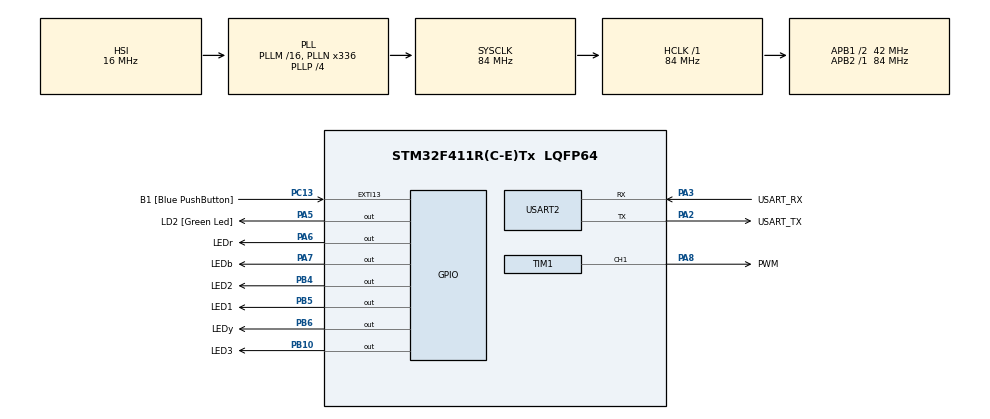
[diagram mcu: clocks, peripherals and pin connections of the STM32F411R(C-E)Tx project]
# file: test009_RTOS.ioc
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FREERTOS.Tasks01=Task01,0,128,StartTask01,Default,NULL,Dynamic,NULL,NULL;Task02,0,128,StartTask02,Default,NULL,Dynamic,NULL,NULL
FREERTOS.configUSE_NEWLIB_REENTRANT=1
Mcu.Family=STM32F4
Mcu.Name=STM32F411R(C-E)Tx
Mcu.Package=LQFP64
NVIC.EXTI15_10_IRQn=true\:5\:0\:false\:false\:true\:true\:true\:true\:true
NVIC.PriorityGroup=NVIC_PRIORITYGROUP_4
NVIC.TIM1_TRG_COM_TIM11_IRQn=true\:15\:0\:false\:false\:true\:false\:false\:true\:true
NVIC.TimeBase=TIM1_TRG_COM_TIM11_IRQn
NVIC.TimeBaseIP=TIM11
PA13.GPIO_Label=TMS
PA13.Mode=Serial_Wire
PA13.Signal=SYS_JTMS-SWDIO
PA14.GPIO_Label=TCK
PA14.Mode=Serial_Wire
PA14.Signal=SYS_JTCK-SWCLK
PA2.GPIO_Label=USART_TX
PA2.Mode=Asynchronous
PA2.Signal=USART2_TX
PA3.GPIO_Label=USART_RX
PA3.Mode=Asynchronous
PA3.Signal=USART2_RX
PA5.GPIO_Label=LD2 [Green Led]
PA5.Signal=GPIO_Output
PA6.GPIO_Label=LEDr
PA6.Signal=GPIO_Output
PA7.GPIO_Label=LEDb
PA7.Signal=GPIO_Output
PA8.GPIO_Label=PWM
PA8.Signal=S_TIM1_CH1
PB10.GPIO_Label=LED3
PB10.Signal=GPIO_Output
PB3.Signal=SYS_JTDO-SWO
PB4.GPIO_Label=LED2
PB4.Signal=GPIO_Output
PB5.GPIO_Label=LED1
PB5.Signal=GPIO_Output
PB6.GPIO_Label=LEDy
PB6.Signal=GPIO_Output
PC13-ANTI_TAMP.GPIO_Label=B1 [Blue PushButton]
PC13-ANTI_TAMP.GPIO_ModeDefaultEXTI=GPIO_MODE_IT_FALLING
PC13-ANTI_TAMP.Signal=GPXTI13
PC14-OSC32_IN.Mode=LSE-External-Oscillator
PC14-OSC32_IN.Signal=RCC_OSC32_IN
PC15-OSC32_OUT.Mode=LSE-External-Oscillator
PC15-OSC32_OUT.Signal=RCC_OSC32_OUT
PH0\ -\ OSC_IN.Mode=HSE-External-Clock-Source
PH0\ -\ OSC_IN.Signal=RCC_OSC_IN
PH1\ -\ OSC_OUT.Mode=HSE-External-Clock-Source
PH1\ -\ OSC_OUT.Signal=RCC_OSC_OUT
ProjectManager.HeapSize=0x200
ProjectManager.StackSize=0x400
ProjectManager.TargetToolchain=STM32CubeIDE
RCC.48MHZClocksFreq_Value=84000000
RCC.AHBFreq_Value=84000000
RCC.APB1CLKDivider=RCC_HCLK_DIV2
RCC.APB1Freq_Value=42000000
RCC.APB1TimFreq_Value=84000000
RCC.APB2Freq_Value=84000000
RCC.APB2TimFreq_Value=84000000
RCC.CortexFreq_Value=84000000
RCC.FLatency-AdvancedSettings=FLASH_LATENCY_2
RCC.HCLKFreq_Value=84000000
RCC.HSE_VALUE=8000000
RCC.HSI_VALUE=16000000
RCC.PLLN=336
RCC.PLLP=RCC_PLLP_DIV4
RCC.SYSCLKFreq_VALUE=84000000
RCC.SYSCLKSource=RCC_SYSCLKSOURCE_PLLCLK
RCC.VCOOutputFreq_Value=336000000
SH.S_TIM1_CH1.0=TIM1_CH1,PWM Generation1 CH1
TIM1.Channel-PWM\ Generation1\ CH1=TIM_CHANNEL_1
TIM1.Period=1000-1
TIM1.Prescaler=1680-1
USART2.VirtualMode=VM_ASYNC
VP_FREERTOS_VS_CMSIS_V1.Mode=CMSIS_V1
VP_SYS_VS_tim11.Mode=TIM11
VP_TIM1_VS_ClockSourceINT.Mode=Internal
board=NUCLEO-F411RE

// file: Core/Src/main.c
/* USER CODE BEGIN Header */
/**
  ******************************************************************************
  * @file           : main.c
  * @brief          : Main program body
  ******************************************************************************
  * @attention
  *
  * Copyright (c) 2024 STMicroelectronics.
  * All rights reserved.
  *
  * This software is licensed under terms that can be found in the LICENSE file
  * in the root directory of this software component.
  * If no LICENSE file comes with this software, it is provided AS-IS.
  *
  ******************************************************************************
  */
/* USER CODE END Header */
#include "main.h"
#include "cmsis_os.h"

TIM_HandleTypeDef htim1;

UART_HandleTypeDef huart2;

osThreadId Task01Handle;
osThreadId Task02Handle;

void SystemClock_Config(void);
static void MX_GPIO_Init(void);
static void MX_USART2_UART_Init(void);
static void MX_TIM1_Init(void);
void StartTask01(void const * argument);
void StartTask02(void const * argument);

/* USER CODE BEGIN 0 */

char LED_Blink(int LED)
{
	if(LED == 1)
	{
		HAL_GPIO_WritePin(LED1_GPIO_Port,LED1_Pin,1);
		//HAL_GPIO_WritePin(LEDr_GPIO_Port,LEDr_Pin,1);
		osDelay(500);
		HAL_GPIO_WritePin(LEDr_GPIO_Port,LEDr_Pin,0);
		osDelay(500);
	}
	else if(LED == 2)
	{
		//HAL_GPIO_WritePin(LED2_GPIO_Port,LED2_Pin,1);
		HAL_GPIO_WritePin(LED2_GPIO_Port,LED2_Pin,1);
		osDelay(500);
		HAL_GPIO_WritePin(LED2_GPIO_Port,LED2_Pin,0);
		osDelay(500);
	}
	else if(LED == 3)
	{
		HAL_GPIO_WritePin(LED3_GPIO_Port,LED3_Pin,1);
		osDelay(500);
		HAL_GPIO_WritePin(LED3_GPIO_Port,LED3_Pin,0);
		osDelay(500);
	}
}

int dr = 40; // 0 ~ 100
int ledNo = 0;

void HAL_GPIO_EXTI_Callback(uint16_t GPIO_Pin)
{

	if(GPIO_Pin == B1_Pin)
	{
		if(++ledNo > 2) ledNo = 0;
		if(++dr > 200) dr = 40; //differ  0-10
		printf("B1\r\n");
	}
}
/* USER CODE END 0 */

int main(void)
{

  /* MCU Configuration--------------------------------------------------------*/

  /* Reset of all peripherals, Initializes the Flash interface and the Systick. */
  HAL_Init();

  /* Configure the system clock */
  SystemClock_Config();

  /* Initialize all configured peripherals */
  MX_GPIO_Init();
  MX_USART2_UART_Init();
  MX_TIM1_Init();
  /* USER CODE BEGIN 2 */
  9(&htim1, TIM_CHANNEL_1);
  printf("\033[?25l");
  /* USER CODE END 2 */

  /* Create the thread(s) */
  /* definition and creation of Task01 */
  osThreadDef(Task01, StartTask01, osPriorityNormal, 0, 128);
  Task01Handle = osThreadCreate(osThread(Task01), NULL);

  /* definition and creation of Task02 */
  osThreadDef(Task02, StartTask02, osPriorityNormal, 0, 128);
  Task02Handle = osThreadCreate(osThread(Task02), NULL);

  /* USER CODE BEGIN RTOS_THREADS */
  /* add threads, ... */
  ProgramStart("RTOS Test....");
  /* USER CODE END RTOS_THREADS */

  /* Start scheduler */
  osKernelStart();

  /* We should never get here as control is now taken by the scheduler */

  /* Infinite loop */
  /* USER CODE BEGIN WHILE */
  int cnt = 0;
  while (1)
  {
	  printf("Task test....%d\r\n",cnt++);
	  HAL_Delay(1000);
    /* USER CODE END WHILE */

  }
}

void SystemClock_Config(void)
{
  RCC_OscInitTypeDef RCC_OscInitStruct = {0};
  RCC_ClkInitTypeDef RCC_ClkInitStruct = {0};

  /** Configure the main internal regulator output voltage
  */
  __HAL_RCC_PWR_CLK_ENABLE();
  __HAL_PWR_VOLTAGESCALING_CONFIG(PWR_REGULATOR_VOLTAGE_SCALE1);

  /** Initializes the RCC Oscillators according to the specified parameters
  * in the RCC_OscInitTypeDef structure.
  */
  RCC_OscInitStruct.OscillatorType = RCC_OSCILLATORTYPE_HSI;
  RCC_OscInitStruct.HSIState = RCC_HSI_ON;
  RCC_OscInitStruct.HSICalibrationValue = RCC_HSICALIBRATION_DEFAULT;
  RCC_OscInitStruct.PLL.PLLState = RCC_PLL_ON;
  RCC_OscInitStruct.PLL.PLLSource = RCC_PLLSOURCE_HSI;
  RCC_OscInitStruct.PLL.PLLM = 16;
  RCC_OscInitStruct.PLL.PLLN = 336;
  RCC_OscInitStruct.PLL.PLLP = RCC_PLLP_DIV4;
  RCC_OscInitStruct.PLL.PLLQ = 4;
  if (HAL_RCC_OscConfig(&RCC_OscInitStruct) != HAL_OK)
  {
    Error_Handler();
  }

  /** Initializes the CPU, AHB and APB buses clocks
  */
  RCC_ClkInitStruct.ClockType = RCC_CLOCKTYPE_HCLK|RCC_CLOCKTYPE_SYSCLK
                              |RCC_CLOCKTYPE_PCLK1|RCC_CLOCKTYPE_PCLK2;
  RCC_ClkInitStruct.SYSCLKSource = RCC_SYSCLKSOURCE_PLLCLK;
  RCC_ClkInitStruct.AHBCLKDivider = RCC_SYSCLK_DIV1;
  RCC_ClkInitStruct.APB1CLKDivider = RCC_HCLK_DIV2;
  RCC_ClkInitStruct.APB2CLKDivider = RCC_HCLK_DIV1;

  if (HAL_RCC_ClockConfig(&RCC_ClkInitStruct, FLASH_LATENCY_2) != HAL_OK)
  {
    Error_Handler();
  }
}

static void MX_TIM1_Init(void)
{

  TIM_ClockConfigTypeDef sClockSourceConfig = {0};
  TIM_MasterConfigTypeDef sMasterConfig = {0};
  TIM_OC_InitTypeDef sConfigOC = {0};
  TIM_BreakDeadTimeConfigTypeDef sBreakDeadTimeConfig = {0};

  htim1.Instance = TIM1;
  htim1.Init.Prescaler = 1680-1;
  htim1.Init.CounterMode = TIM_COUNTERMODE_UP;
  htim1.Init.Period = 1000-1;
  htim1.Init.ClockDivision = TIM_CLOCKDIVISION_DIV1;
  htim1.Init.RepetitionCounter = 0;
  htim1.Init.AutoReloadPreload = TIM_AUTORELOAD_PRELOAD_DISABLE;
  if (HAL_TIM_Base_Init(&htim1) != HAL_OK)
  {
    Error_Handler();
  }
  sClockSourceConfig.ClockSource = TIM_CLOCKSOURCE_INTERNAL;
  if (HAL_TIM_ConfigClockSource(&htim1, &sClockSourceConfig) != HAL_OK)
  {
    Error_Handler();
  }
  if (HAL_TIM_PWM_Init(&htim1) != HAL_OK)
  {
    Error_Handler();
  }
  sMasterConfig.MasterOutputTrigger = TIM_TRGO_RESET;
  sMasterConfig.MasterSlaveMode = TIM_MASTERSLAVEMODE_DISABLE;
  if (HAL_TIMEx_MasterConfigSynchronization(&htim1, &sMasterConfig) != HAL_OK)
  {
    Error_Handler();
  }
  sConfigOC.OCMode = TIM_OCMODE_PWM1;
  sConfigOC.Pulse = 0;
  sConfigOC.OCPolarity = TIM_OCPOLARITY_HIGH;
  sConfigOC.OCNPolarity = TIM_OCNPOLARITY_HIGH;
  sConfigOC.OCFastMode = TIM_OCFAST_DISABLE;
  sConfigOC.OCIdleState = TIM_OCIDLESTATE_RESET;
  sConfigOC.OCNIdleState = TIM_OCNIDLESTATE_RESET;
  if (HAL_TIM_PWM_ConfigChannel(&htim1, &sConfigOC, TIM_CHANNEL_1) != HAL_OK)
  {
    Error_Handler();
  }
  sBreakDeadTimeConfig.OffStateRunMode = TIM_OSSR_DISABLE;
  sBreakDeadTimeConfig.OffStateIDLEMode = TIM_OSSI_DISABLE;
  sBreakDeadTimeConfig.LockLevel = TIM_LOCKLEVEL_OFF;
  sBreakDeadTimeConfig.DeadTime = 0;
  sBreakDeadTimeConfig.BreakState = TIM_BREAK_DISABLE;
  sBreakDeadTimeConfig.BreakPolarity = TIM_BREAKPOLARITY_HIGH;
  sBreakDeadTimeConfig.AutomaticOutput = TIM_AUTOMATICOUTPUT_DISABLE;
  if (HAL_TIMEx_ConfigBreakDeadTime(&htim1, &sBreakDeadTimeConfig) != HAL_OK)
  {
    Error_Handler();
  }
  HAL_TIM_MspPostInit(&htim1);

}

static void MX_USART2_UART_Init(void)
{

  huart2.Instance = USART2;
  huart2.Init.BaudRate = 115200;
  huart2.Init.WordLength = UART_WORDLENGTH_8B;
  huart2.Init.StopBits = UART_STOPBITS_1;
  huart2.Init.Parity = UART_PARITY_NONE;
  huart2.Init.Mode = UART_MODE_TX_RX;
  huart2.Init.HwFlowCtl = UART_HWCONTROL_NONE;
  huart2.Init.OverSampling = UART_OVERSAMPLING_16;
  if (HAL_UART_Init(&huart2) != HAL_OK)
  {
    Error_Handler();
  }

}

static void MX_GPIO_Init(void)
{
  GPIO_InitTypeDef GPIO_InitStruct = {0};

  /* GPIO Ports Clock Enable */
  __HAL_RCC_GPIOC_CLK_ENABLE();
  __HAL_RCC_GPIOH_CLK_ENABLE();
  __HAL_RCC_GPIOA_CLK_ENABLE();
  __HAL_RCC_GPIOB_CLK_ENABLE();

  /*Configure GPIO pin Output Level */
  HAL_GPIO_WritePin(GPIOA, LD2_Pin|LEDr_Pin|LEDb_Pin, GPIO_PIN_RESET);

  /*Configure GPIO pin Output Level */
  HAL_GPIO_WritePin(GPIOB, LED3_Pin|LED2_Pin|LED1_Pin|LEDy_Pin, GPIO_PIN_RESET);

  /*Configure GPIO pin : B1_Pin */
  GPIO_InitStruct.Pin = B1_Pin;
  GPIO_InitStruct.Mode = GPIO_MODE_IT_FALLING;
  GPIO_InitStruct.Pull = GPIO_NOPULL;
  HAL_GPIO_Init(B1_GPIO_Port, &GPIO_InitStruct);

  /*Configure GPIO pins : LD2_Pin LEDr_Pin LEDb_Pin */
  GPIO_InitStruct.Pin = LD2_Pin|LEDr_Pin|LEDb_Pin;
  GPIO_InitStruct.Mode = GPIO_MODE_OUTPUT_PP;
  GPIO_InitStruct.Pull = GPIO_NOPULL;
  GPIO_InitStruct.Speed = GPIO_SPEED_FREQ_LOW;
  HAL_GPIO_Init(GPIOA, &GPIO_InitStruct);

  /*Configure GPIO pins : LED3_Pin LED2_Pin LED1_Pin LEDy_Pin */
  GPIO_InitStruct.Pin = LED3_Pin|LED2_Pin|LED1_Pin|LEDy_Pin;
  GPIO_InitStruct.Mode = GPIO_MODE_OUTPUT_PP;
  GPIO_InitStruct.Pull = GPIO_NOPULL;
  GPIO_InitStruct.Speed = GPIO_SPEED_FREQ_LOW;
  HAL_GPIO_Init(GPIOB, &GPIO_InitStruct);

  /* EXTI interrupt init*/
  HAL_NVIC_SetPriority(EXTI15_10_IRQn, 5, 0);
  HAL_NVIC_EnableIRQ(EXTI15_10_IRQn);

}

/* USER CODE BEGIN Header_StartTask01 */
/**
  * @brief  Function implementing the Task01 thread.
  * @param  argument: Not used
  * @retval None
  */
int ccr[] = {21, 76, 130 };
/* USER CODE END Header_StartTask01 */
void StartTask01(void const * argument)
{
  /* USER CODE BEGIN 5 */
  /* Infinite loop */
	int cnt = 0;
  for(;;)	// == while(1)
  {
	  //dr++;
	  //ledNo++;
	  //if(++ledNo > 2) ledNo = 0;
	  if(++dr > 200) dr = 40; //differ  0-10
	  //htim1.Instance->CCR1 = (dr);//10 - 20
	  htim1.Instance->CCR1 = ccr[ledNo]; 	//20	110	220
	  int sa = dr * 1;	//Servo_Angle
	  //printf("%\033[5;2HServoAngle : %3d\n",sa);
	  printf("%\033[5;2HServoAngle : %3d\n",ledNo);
	  //printf("Task01 test....%d\r\n",cnt++);
	  //HAL_Delay(1000);//task delay switching cannot done
	  osDelay(1000); //Task switching
    //osDelay(1000);
  }
  /* USER CODE END 5 */
}

/* USER CODE BEGIN Header_StartTask02 */
/**
* @brief Function implementing the myTask02 thread.
* @param argument: Not used
* @retval None
*
*/
GPIO_TypeDef *ledPort[] = {LEDr_GPIO_Port, LEDb_GPIO_Port, LEDy_GPIO_Port};
uint16_t ledPin[] = {LEDr_Pin, LEDb_Pin, LEDy_Pin};

/* USER CODE END Header_StartTask02 */
void StartTask02(void const * argument)
{
  /* USER CODE BEGIN StartTask02 */
  /* Infinite loop */
	int cnt = 0;

  for(;;)
  {
	  //if(dr<170) ledNo = 1;
	  //else if (dr == 170) ledNo = 2;
	  //else ledNo = 3;

	  HAL_GPIO_WritePin(ledPort[ledNo],ledPin[ledNo],1);
	  HAL_Delay(200);
	  HAL_GPIO_WritePin(ledPort[ledNo],ledPin[ledNo],0);
	  HAL_Delay(200);
	  //printf("Task02 test...............%d\r\n",cnt++);

	  //LED_Blink(ledNo);
	  osDelay(1);
  }
  /* USER CODE END StartTask02 */
}

void HAL_TIM_PeriodElapsedCallback(TIM_HandleTypeDef *htim)
{
  if (htim->Instance == TIM11) {
    HAL_IncTick();
  }
}

void Error_Handler(void)
{
  __disable_irq();
  while (1)
  {
  }
}
